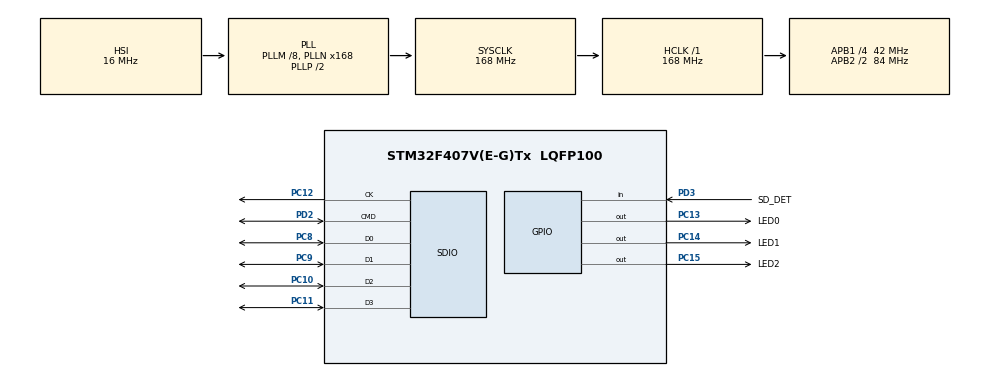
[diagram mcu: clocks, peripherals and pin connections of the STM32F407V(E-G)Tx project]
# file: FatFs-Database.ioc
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FATFS.BSP.number=1
FATFS._CODE_PAGE=437
FATFS._USE_LFN=1
FATFS0.BSP.STBoard=false
FATFS0.BSP.api=Unknown
FATFS0.BSP.i2caddr=0
FATFS0.BSP.instance=PD3
FATFS0.BSP.ip=GPIO
FATFS0.BSP.mode=Input
FATFS0.BSP.name=Detect_SDIO
FATFS0.BSP.solution=PD3
Mcu.Family=STM32F4
Mcu.Name=STM32F407V(E-G)Tx
Mcu.Package=LQFP100
NVIC.PriorityGroup=NVIC_PRIORITYGROUP_4
PC10.Mode=SD_4_bits_Wide_bus
PC10.Signal=SDIO_D2
PC11.Mode=SD_4_bits_Wide_bus
PC11.Signal=SDIO_D3
PC12.Mode=SD_4_bits_Wide_bus
PC12.Signal=SDIO_CK
PC13-ANTI_TAMP.GPIO_Label=LED0
PC13-ANTI_TAMP.Signal=GPIO_Output
PC14-OSC32_IN.GPIO_Label=LED1
PC14-OSC32_IN.Signal=GPIO_Output
PC15-OSC32_OUT.GPIO_Label=LED2
PC15-OSC32_OUT.Signal=GPIO_Output
PC8.Mode=SD_4_bits_Wide_bus
PC8.Signal=SDIO_D0
PC9.Mode=SD_4_bits_Wide_bus
PC9.Signal=SDIO_D1
PD2.Mode=SD_4_bits_Wide_bus
PD2.Signal=SDIO_CMD
PD3.GPIO_Label=SD_DET
PD3.Signal=GPIO_Input
ProjectManager.HeapSize=0x200
ProjectManager.StackSize=0x400
ProjectManager.TargetToolchain=MDK-ARM V5.27
RCC.48MHZClocksFreq_Value=48000000
RCC.AHBFreq_Value=168000000
RCC.APB1CLKDivider=RCC_HCLK_DIV4
RCC.APB1Freq_Value=42000000
RCC.APB1TimFreq_Value=84000000
RCC.APB2CLKDivider=RCC_HCLK_DIV2
RCC.APB2Freq_Value=84000000
RCC.APB2TimFreq_Value=168000000
RCC.CortexFreq_Value=168000000
RCC.HCLKFreq_Value=168000000
RCC.HSE_VALUE=25000000
RCC.HSI_VALUE=16000000
RCC.LSE_VALUE=32768
RCC.PLLM=8
RCC.PLLN=168
RCC.PLLQ=7
RCC.SYSCLKFreq_VALUE=168000000
RCC.SYSCLKSource=RCC_SYSCLKSOURCE_PLLCLK
RCC.VCOOutputFreq_Value=336000000
SDIO.ClockDiv=6
VP_FATFS_VS_SDIO.Mode=SDIO
board=custom

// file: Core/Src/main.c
/* USER CODE BEGIN Header */
/**
  ******************************************************************************
  * @file           : main.c
  * @brief          : Main program body
  ******************************************************************************
  * @attention
  *
  * <h2><center>&copy; Copyright (c) 2024 STMicroelectronics.
  * All rights reserved.</center></h2>
  *
  * This software component is licensed by ST under Ultimate Liberty license
  * SLA0044, the "License"; You may not use this file except in compliance with
  * the License. You may obtain a copy of the License at:
  *                             www.st.com/SLA0044
  *
  ******************************************************************************
  */
/* USER CODE END Header */
#include "main.h"
#include "fatfs.h"
#include "sdio.h"
#include "gpio.h"

/* USER CODE BEGIN Includes */
#include <string.h>
/* USER CODE END Includes */

/* USER CODE BEGIN PTD */
#define LED_MAX_NUM     3

#define DB_KEY          0xABCD1234

typedef enum {
  Led_Mode_Off      = 0,
  Led_Mode_On       = 1,
  Led_Mode_Blink    = 2,
} Led_Mode;

typedef struct {
  uint8_t         Mode;
  uint16_t        BlinkPeriod;
} Led_ModeConfig;

typedef struct {
  Led_ModeConfig  Leds[LED_MAX_NUM];
  uint32_t        Key;
} Database;

typedef struct {
  GPIO_TypeDef*   GPIO;
    uint16_t      Pin;
} Led_PinConfig;

typedef struct {
  const Led_PinConfig*    PinConfig;
  Led_ModeConfig*         Config;
  uint32_t                NextCheck;
} Led_HandleTypeDef;

/* USER CODE END PTD */

/* USER CODE BEGIN PV */
static const char DB_PATH[] = "0:/board.db";

static const Led_PinConfig    LED_PIN_CONFIGS[LED_MAX_NUM] = {
  { LED0_GPIO_Port, LED0_Pin },
  { LED1_GPIO_Port, LED1_Pin },
  { LED2_GPIO_Port, LED2_Pin },
};

static const Database DB_DEFAULT = {
  .Leds = {
    { .Mode = Led_Mode_Off, .BlinkPeriod = 1000 },
    { .Mode = Led_Mode_Off, .BlinkPeriod = 1000 },
    { .Mode = Led_Mode_Off, .BlinkPeriod = 1000 },
  },
  .Key = DB_KEY,
};

static Database db = {0};

static Led_HandleTypeDef leds[LED_MAX_NUM] = {0};

/* USER CODE END PV */

void SystemClock_Config(void);
/* USER CODE BEGIN PFP */
void Database_load(Database* db);
void Database_save(Database* db);

void Led_init(Led_HandleTypeDef* led, const Led_PinConfig* pinConfig, Led_ModeConfig* config);
void Led_handle(Led_HandleTypeDef* led);
void Led_initArray(Led_HandleTypeDef* leds, const Led_PinConfig* pinConfig, Led_ModeConfig* config, uint32_t len);
void Led_handleArray(Led_HandleTypeDef* leds, uint32_t len);

/* USER CODE END PFP */

int main(void)
{

  /* MCU Configuration--------------------------------------------------------*/

  /* Reset of all peripherals, Initializes the Flash interface and the Systick. */
  HAL_Init();

  /* Configure the system clock */
  SystemClock_Config();

  /* Initialize all configured peripherals */
  MX_GPIO_Init();
  MX_SDIO_SD_Init();
  MX_FATFS_Init();
  /* USER CODE BEGIN 2 */

  f_mount(&SDFatFS, SDPath, 1);

  Database_load(&db);
  if (db.Key != DB_KEY) {
    // Set Factory Settings
    memcpy(&db, &DB_DEFAULT, sizeof(Database));
    Database_save(&db);
  }

  Led_initArray(leds, LED_PIN_CONFIGS, db.Leds, LED_MAX_NUM);

  /* USER CODE END 2 */

  /* Infinite loop */
  /* USER CODE BEGIN WHILE */
  while (1)
  {
    Led_handleArray(leds, LED_MAX_NUM);
    /* USER CODE END WHILE */

  }
}

void SystemClock_Config(void)
{
  RCC_OscInitTypeDef RCC_OscInitStruct = {0};
  RCC_ClkInitTypeDef RCC_ClkInitStruct = {0};

  /** Configure the main internal regulator output voltage
  */
  __HAL_RCC_PWR_CLK_ENABLE();
  __HAL_PWR_VOLTAGESCALING_CONFIG(PWR_REGULATOR_VOLTAGE_SCALE1);
  /** Initializes the RCC Oscillators according to the specified parameters
  * in the RCC_OscInitTypeDef structure.
  */
  RCC_OscInitStruct.OscillatorType = RCC_OSCILLATORTYPE_HSI;
  RCC_OscInitStruct.HSIState = RCC_HSI_ON;
  RCC_OscInitStruct.HSICalibrationValue = RCC_HSICALIBRATION_DEFAULT;
  RCC_OscInitStruct.PLL.PLLState = RCC_PLL_ON;
  RCC_OscInitStruct.PLL.PLLSource = RCC_PLLSOURCE_HSI;
  RCC_OscInitStruct.PLL.PLLM = 8;
  RCC_OscInitStruct.PLL.PLLN = 168;
  RCC_OscInitStruct.PLL.PLLP = RCC_PLLP_DIV2;
  RCC_OscInitStruct.PLL.PLLQ = 7;
  if (HAL_RCC_OscConfig(&RCC_OscInitStruct) != HAL_OK)
  {
    Error_Handler();
  }
  /** Initializes the CPU, AHB and APB buses clocks
  */
  RCC_ClkInitStruct.ClockType = RCC_CLOCKTYPE_HCLK|RCC_CLOCKTYPE_SYSCLK
                              |RCC_CLOCKTYPE_PCLK1|RCC_CLOCKTYPE_PCLK2;
  RCC_ClkInitStruct.SYSCLKSource = RCC_SYSCLKSOURCE_PLLCLK;
  RCC_ClkInitStruct.AHBCLKDivider = RCC_SYSCLK_DIV1;
  RCC_ClkInitStruct.APB1CLKDivider = RCC_HCLK_DIV4;
  RCC_ClkInitStruct.APB2CLKDivider = RCC_HCLK_DIV2;

  if (HAL_RCC_ClockConfig(&RCC_ClkInitStruct, FLASH_LATENCY_5) != HAL_OK)
  {
    Error_Handler();
  }
}

/* USER CODE BEGIN 4 */
void Database_load(Database* db) {
  // Read DB File
  if (f_open(&SDFile, DB_PATH, FA_OPEN_EXISTING | FA_READ) == FR_OK) {
    // Check for validation database
    if (f_size(&SDFile) == sizeof(Database)) {
      uint32_t readBytes;
      f_read(&SDFile, db, sizeof(Database), &readBytes);
      while (readBytes < sizeof(Database) && !f_eof(&SDFile));
    }

    f_close(&SDFile);
  }
}
void Database_save(Database* db) {
  // Write DB File
  if (f_open(&SDFile, DB_PATH, FA_CREATE_ALWAYS | FA_WRITE) == FR_OK) {
    uint32_t writeBytes;
    f_write(&SDFile, db, sizeof(Database), &writeBytes);
    while (writeBytes < sizeof(Database));

    f_close(&SDFile);
  }
}

void Led_handle(Led_HandleTypeDef* led) {
  if (led->NextCheck <= HAL_GetTick()) {
    switch ((Led_Mode) led->Config->Mode) {
      case Led_Mode_Off:
        HAL_GPIO_WritePin(led->PinConfig->GPIO, led->PinConfig->Pin, GPIO_PIN_SET);
        led->NextCheck = HAL_GetTick() + 1000;
        break;
      case Led_Mode_On:
        HAL_GPIO_WritePin(led->PinConfig->GPIO, led->PinConfig->Pin, GPIO_PIN_RESET);
        led->NextCheck = HAL_GetTick() + 1000;
        break;
      case Led_Mode_Blink:
        HAL_GPIO_TogglePin(led->PinConfig->GPIO, led->PinConfig->Pin);
        led->NextCheck = HAL_GetTick() + led->Config->BlinkPeriod;
        break;
    }
  }
}

void Led_init(Led_HandleTypeDef* led, const Led_PinConfig* pinConfig, Led_ModeConfig* config) {
  led->PinConfig = pinConfig;
  led->Config = config;
  led->NextCheck = 0;
}

void Led_initArray(Led_HandleTypeDef* leds, const Led_PinConfig* pinConfig, Led_ModeConfig* config, uint32_t len) {
  while (len-- > 0) {
    Led_init(leds++, pinConfig++, config++);
  }
}
void Led_handleArray(Led_HandleTypeDef* leds, uint32_t len) {
  while (len-- > 0) {
    Led_handle(leds++);
  }
}
/* USER CODE END 4 */

void Error_Handler(void)
{
  __disable_irq();
  while (1)
  {
  }
}

/************************ (C) COPYRIGHT STMicroelectronics *****END OF FILE****/
